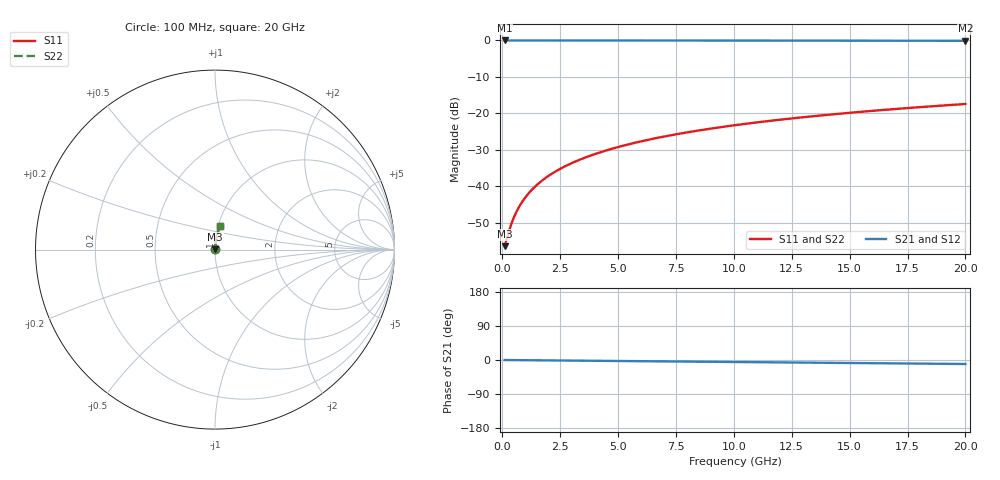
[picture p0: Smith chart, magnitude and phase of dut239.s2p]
! Touchstone file exported from HFSS 2026.1.0
!  File:  C:/ffzhzh/LocalFiles/Ansys_Project_Files/temp_train_TSV_239_1782992534_40604.aedt
!  Generated:  07:44:19 PM Jul  2, 2026
!  Design:  TSV
!  Project:  temp_train_TSV_239_1782992534_40604
! Variables:
!  h_bsmrdl = 2um
!  h_ox = 20um
!  h_rdl = 5um
!  h_sub = 64.05um
!  h_tmrdl = 5um
!  h_tsv = 64.05um
!  h_via = 3um
!  l_bsmrdl = 300um
!  l_sub = 404.72um
!  l_tmrdl = 200um
!  m_sub = 200um
!  pitch = 51.42um
!  r_tsv = 2.36um
!  s_tmrdl = 10um
!  w_bsmrdl = 18um
!  w_sub = 500um
!  w_tmrdl = 12um
!  x_tsv_center1 = 206um
!  x_tsv_center2 = 524um
!  x_tsv_center3 = 736um
!  x_tsv_center4 = 1054um
!  x_tsv_center5 = 1266um
!  x_tsv_center6 = 1584um
# GHz S MA R 50.000000
! Terminal data exported
! Port[1] = TSV1_1_T1
! Port[2] = TSV1_1_T2
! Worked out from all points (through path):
!   200 points, 100 MHz to 20 GHz, reference 50 ohm
!   highest |S21| = -0.01 dB at 100 MHz (marker M1); lowest = -0.1 dB at 20 GHz (marker M2)
!   group delay of S21, straight-line fit = 1.46 ps
!   lowest |S11| = -56.4 dB at 100 MHz (marker M3), VSWR 1.00, Z = 50.1 + j0.07 ohm
!   |S11| at or under -10 dB: start of sweep to end of sweep
!   |S22| runs from -56.4 to -17.4 dB; largest |S21 - S12| = 3.2e-15
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0.1  0.001512 27.5  0.9987 -0.1  0.9987 -0.1  0.001512 27.5
! Gamma 0 0 0 0
! Port Impedance 50 0 50 0
0.3  0.002492 57.1  0.9986 -0.2  0.9986 -0.2  0.002492 57.1
0.4  0.003103 63.9  0.9986 -0.2  0.9986 -0.2  0.003103 63.9
0.5  0.003742 68.4  0.9986 -0.3  0.9986 -0.3  0.003742 68.4
0.6  0.004397 71.6  0.9986 -0.3  0.9986 -0.3  0.004397 71.6
0.7  0.005061 73.9  0.9986 -0.4  0.9986 -0.4  0.005061 73.9
0.9  0.006405 77.1  0.9986 -0.5  0.9986 -0.5  0.006405 77.1
1.2  0.008443 79.8  0.9986 -0.6  0.9986 -0.6  0.008443 79.8
1.4  0.009809 81.0  0.9985 -0.8  0.9985 -0.8  0.009809 81.0
1.7  0.01186 82.2  0.9985 -0.9  0.9985 -0.9  0.01186 82.2
2.2  0.0153 83.4  0.9984 -1.2  0.9984 -1.2  0.0153 83.4
2.8  0.01943 84.1  0.9983 -1.5  0.9983 -1.5  0.01943 84.1
3.5  0.02424 84.5  0.9982 -1.9  0.9982 -1.9  0.02424 84.5
4.2  0.02905 84.6  0.998 -2.3  0.998 -2.3  0.02905 84.6
5  0.03454 84.6  0.9978 -2.7  0.9978 -2.7  0.03454 84.6
5.9  0.0407 84.4  0.9974 -3.2  0.9974 -3.2  0.0407 84.4
6.8  0.04684 84.1  0.9971 -3.6  0.9971 -3.6  0.04684 84.1
8.3  0.05703 83.6  0.9964 -4.4  0.9964 -4.4  0.05703 83.6
10.1  0.06918 82.8  0.9954 -5.4  0.9954 -5.4  0.06918 82.8
13.4  0.09122 81.2  0.9932 -7.1  0.9932 -7.1  0.09122 81.2
16.7  0.113 79.7  0.9906 -8.8  0.9906 -8.8  0.113 79.7
20  0.1344 78.1  0.9876 -10.5  0.9876 -10.5  0.1344 78.1
